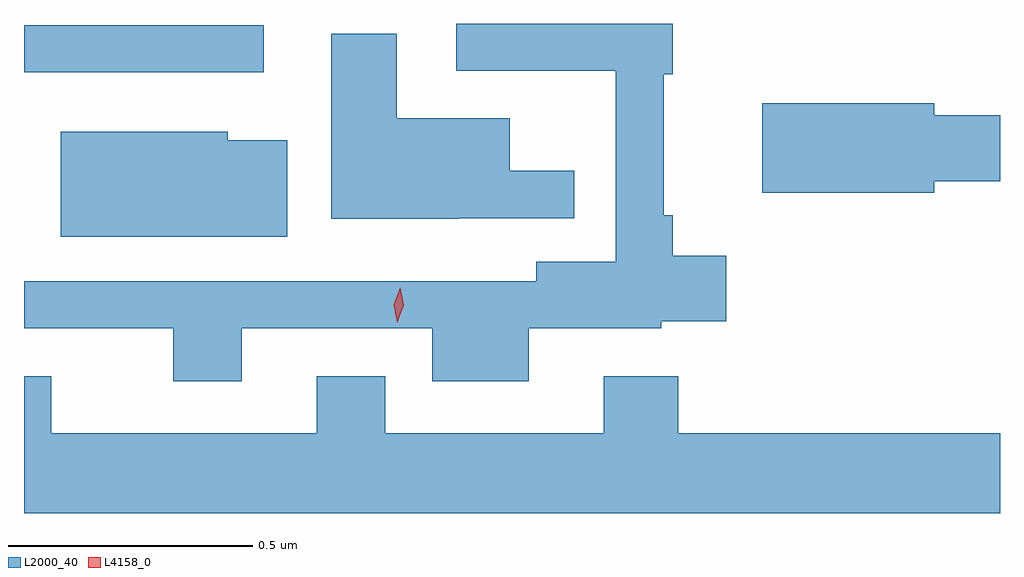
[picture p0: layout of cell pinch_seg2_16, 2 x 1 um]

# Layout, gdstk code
import gdstk
lib = gdstk.Library(unit=1e-6, precision=1e-09)
def R(c, l, rs):  # rectangles x0, y0, x1, y1
    for r in rs: c.add(gdstk.rectangle(r[:2], r[2:], *l))
def P(c, l, *ps):  # polygons
    for p in ps: c.add(gdstk.Polygon(p, *l))
L2000_40 = (2000, 40)
L4158_0 = (4158, 0)

pinch_seg2_16 = lib.new_cell('pinch_seg2_16')
R(pinch_seg2_16, L2000_40, [(1102.901,663.192,1103.392,663.288)])
P(pinch_seg2_16, L2000_40, [(1103.347,662.667),(1103.738,662.667),(1103.738,662.558),(1103.935,662.558),(1103.935,662.667),(1104.207,662.667),(1104.207,662.681),(1104.34,662.681),(1104.34,662.816),(1104.23,662.816),(1104.23,662.899),(1104.212,662.899),(1104.212,663.188),(1104.23,663.188),(1104.23,663.291),(1103.787,663.291),(1103.787,663.195),(1104.113,663.195),(1104.113,663.194),(1104.114,663.194),(1104.114,662.803),(1103.951,662.803),(1103.951,662.763),(1102.901,662.763),(1102.901,662.667),(1103.207,662.667),(1103.207,662.558),(1103.347,662.558)],
  [(1103.792,662.892),(1104.029,662.892),(1104.029,662.99),(1103.896,662.99),(1103.896,663.097),(1103.665,663.097),(1103.665,663.271),(1103.531,663.271),(1103.531,662.891),(1103.792,662.891)],
  [(1104.766,662.968),(1104.901,662.968),(1104.901,663.104),(1104.766,663.104),(1104.766,663.128),(1104.414,663.128),(1104.414,662.945),(1104.766,662.945)],
  [(1103.44,663.052),(1103.319,663.052),(1103.319,663.07),(1102.976,663.07),(1102.976,662.855),(1103.44,662.855)],
  [(1103.501,662.569),(1103.501,662.452),(1102.957,662.452),(1102.957,662.569),(1102.901,662.569),(1102.901,662.288),(1104.901,662.288),(1104.901,662.452),(1104.242,662.452),(1104.242,662.569),(1104.089,662.569),(1104.089,662.452),(1103.641,662.452),(1103.641,662.569)])
P(pinch_seg2_16, L4158_0, [(1103.666,662.678),(1103.666,662.679),(1103.659,662.715),(1103.672,662.75),(1103.672,662.75),(1103.672,662.75),(1103.679,662.714),(1103.666,662.679)])

lib.write_gds('pinch_seg2_16.gds')
